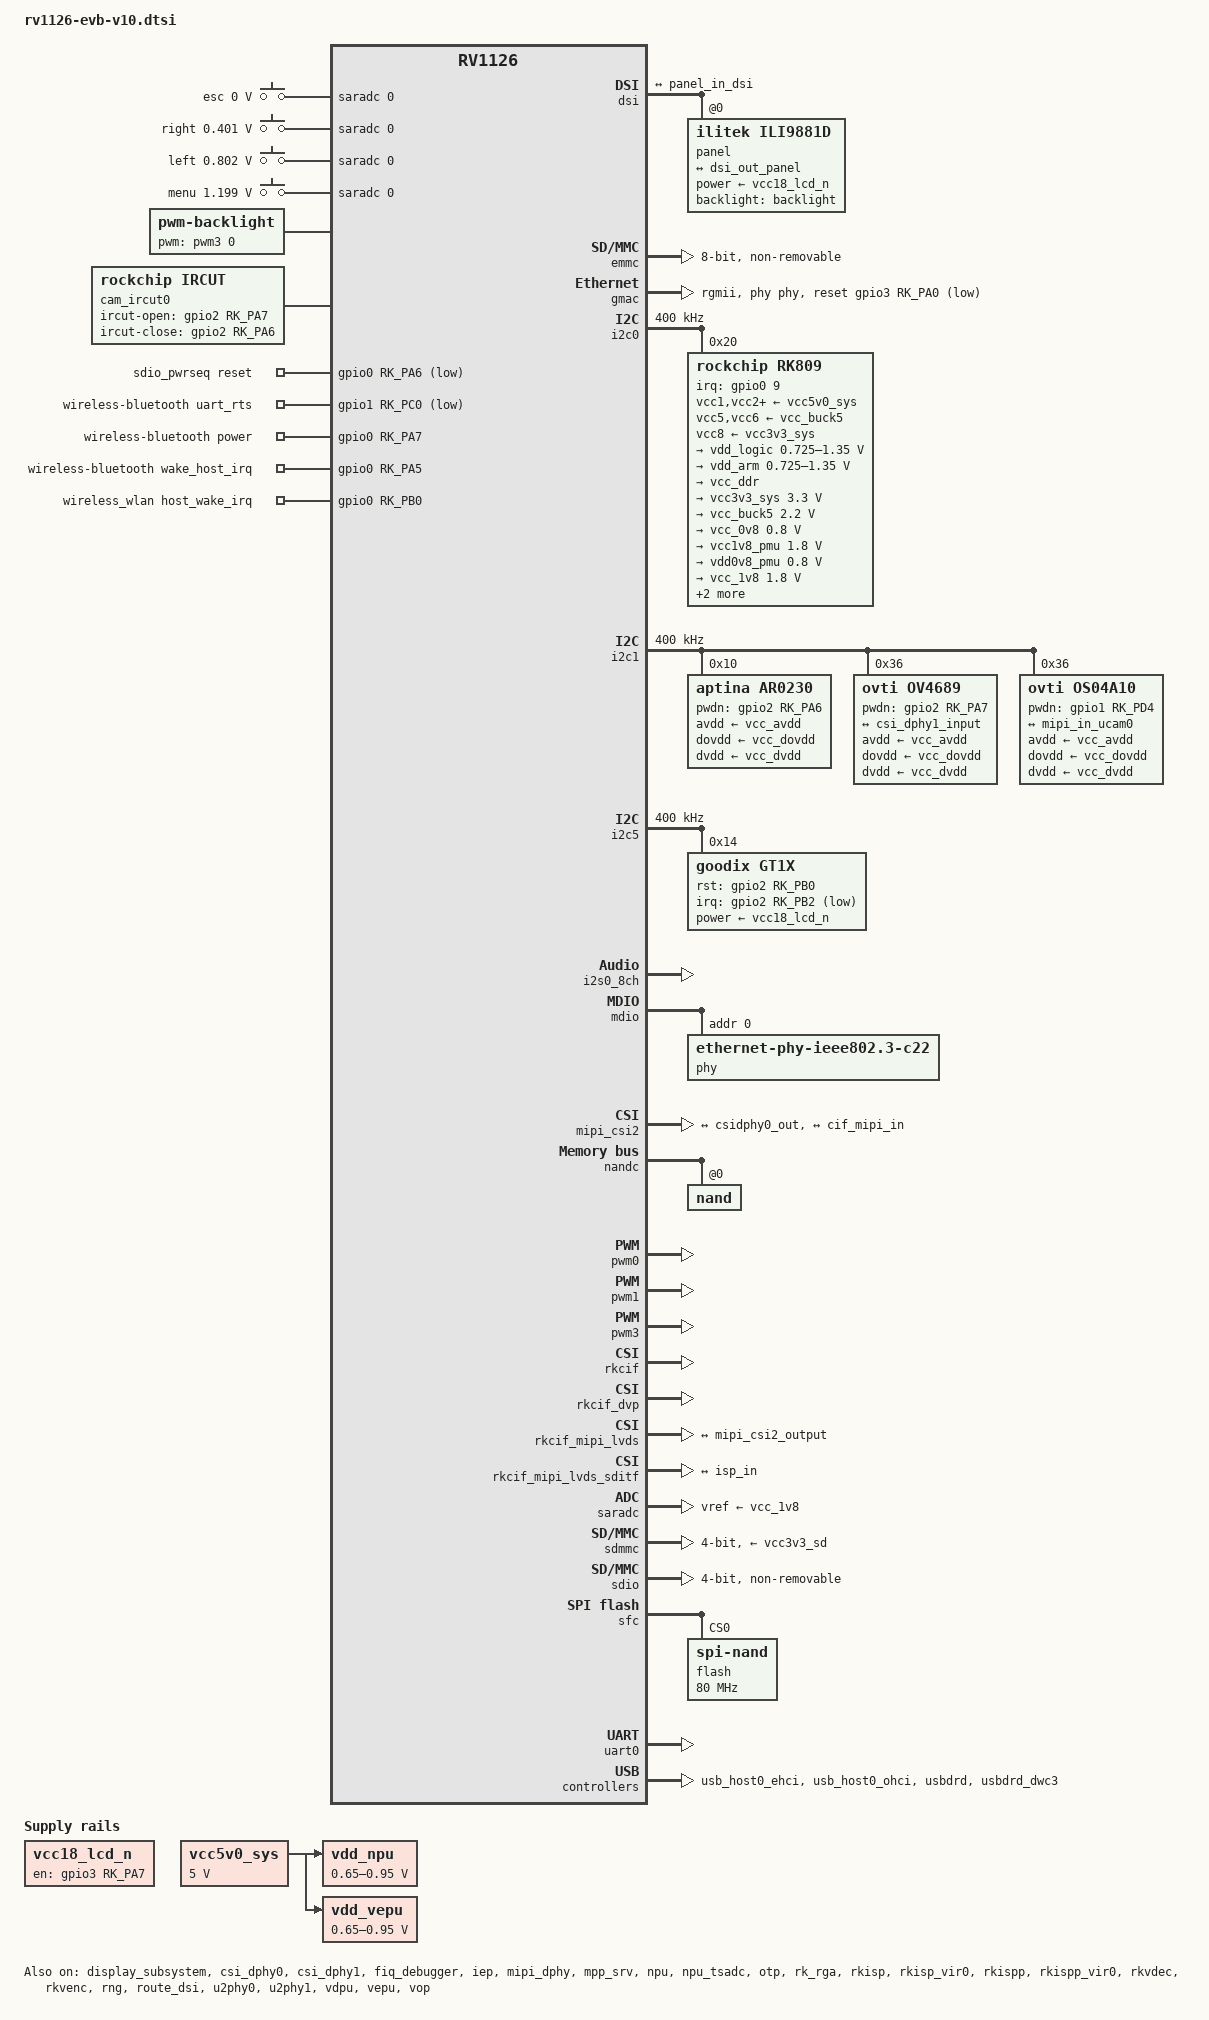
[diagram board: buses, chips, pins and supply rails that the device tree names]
// SPDX-License-Identifier: (GPL-2.0+ OR MIT)
/*
 * Copyright (c) 2019 Fuzhou Rockchip Electronics Co., Ltd.
 */

#include <dt-bindings/display/drm_mipi_dsi.h>
#include <dt-bindings/input/input.h>

/ {
	adc-keys {
		compatible = "adc-keys";
		io-channels = <&saradc 0>;
		io-channel-names = "buttons";
		poll-interval = <100>;
		keyup-threshold-microvolt = <1800000>;

		esc-key {
			label = "esc";
			linux,code = <KEY_ESC>;
			press-threshold-microvolt = <0>;
		};

		right-key {
			label = "right";
			linux,code = <KEY_RIGHT>;
			press-threshold-microvolt = <400781>;
		};

		left-key {
			label = "left";
			linux,code = <KEY_LEFT>;
			press-threshold-microvolt = <801562>;
		};

		menu-key {
			label = "menu";
			linux,code = <KEY_MENU>;
			press-threshold-microvolt = <1198828>;
		};
	};

	backlight: backlight {
		compatible = "pwm-backlight";
		pwms = <&pwm3 0 25000 0>;
		brightness-levels = <
			  0   1   2   3   4   5   6   7
			  8   9  10  11  12  13  14  15
			 16  17  18  19  20  21  22  23
			 24  25  26  27  28  29  30  31
			 32  33  34  35  36  37  38  39
			 40  41  42  43  44  45  46  47
			 48  49  50  51  52  53  54  55
			 56  57  58  59  60  61  62  63
			 64  65  66  67  68  69  70  71
			 72  73  74  75  76  77  78  79
			 80  81  82  83  84  85  86  87
			 88  89  90  91  92  93  94  95
			 96  97  98  99 100 101 102 103
			104 105 106 107 108 109 110 111
			112 113 114 115 116 117 118 119
			120 121 122 123 124 125 126 127
			128 129 130 131 132 133 134 135
			136 137 138 139 140 141 142 143
			144 145 146 147 148 149 150 151
			152 153 154 155 156 157 158 159
			160 161 162 163 164 165 166 167
			168 169 170 171 172 173 174 175
			176 177 178 179 180 181 182 183
			184 185 186 187 188 189 190 191
			192 193 194 195 196 197 198 199
			200 201 202 203 204 205 206 207
			208 209 210 211 212 213 214 215
			216 217 218 219 220 221 222 223
			224 225 226 227 228 229 230 231
			232 233 234 235 236 237 238 239
			240 241 242 243 244 245 246 247
			248 249 250 251 252 253 254 255>;
		default-brightness-level = <200>;
	};

	cam_ircut0: cam_ircut {
		status = "okay";
		compatible = "rockchip,ircut";
		ircut-open-gpios = <&gpio2 RK_PA7 GPIO_ACTIVE_HIGH>;
		ircut-close-gpios  = <&gpio2 RK_PA6 GPIO_ACTIVE_HIGH>;
		rockchip,camera-module-index = <1>;
		rockchip,camera-module-facing = "front";
	};

	dummy_codec: dummy-codec {
		compatible = "rockchip,dummy-codec";
		#sound-dai-cells = <0>;
	};

	pdm_mic_array: pdm-mic_array {
		status = "disabled";
		compatible = "simple-audio-card";
		simple-audio-card,name = "rockchip,pdm-mic-array";
		simple-audio-card,cpu {
			sound-dai = <&pdm>;
		};
		simple-audio-card,codec {
			sound-dai = <&dummy_codec>;
		};
	};

	rk809_sound: rk809-sound {
		compatible = "simple-audio-card";
		simple-audio-card,format = "i2s";
		simple-audio-card,name = "rockchip,rk809-codec";
		simple-audio-card,mclk-fs = <256>;
		simple-audio-card,cpu {
			sound-dai = <&i2s0_8ch>;
		};
		simple-audio-card,codec {
			sound-dai = <&rk809_codec>;
		};
	};

	sdio_pwrseq: sdio-pwrseq {
		compatible = "mmc-pwrseq-simple";
		pinctrl-names = "default";
		pinctrl-0 = <&wifi_enable_h>;

		/*
		 * On the module itself this is one of these (depending
		 * on the actual card populated):
		 * - SDIO_RESET_L_WL_REG_ON
		 * - PDN (power down when low)
		 */
		reset-gpios = <&gpio0 RK_PA6 GPIO_ACTIVE_LOW>;
	};

	vcc18_lcd_n: vcc18-lcd-n {
		compatible = "regulator-fixed";
		regulator-name = "vcc18_lcd_n";
		gpio = <&gpio3 RK_PA7 GPIO_ACTIVE_HIGH>;
		enable-active-high;
		regulator-boot-on;
	};

	vcc5v0_sys: vccsys {
		compatible = "regulator-fixed";
		regulator-name = "vcc5v0_sys";
		regulator-always-on;
		regulator-boot-on;
		regulator-min-microvolt = <5000000>;
		regulator-max-microvolt = <5000000>;
	};

	vdd_npu: vdd-npu {
		compatible = "pwm-regulator";
		pwms = <&pwm0 0 5000 1>;
		regulator-name = "vdd_npu";
		regulator-min-microvolt = <650000>;
		regulator-max-microvolt = <950000>;
		regulator-init-microvolt = <800000>;
		regulator-always-on;
		regulator-boot-on;
		regulator-settling-time-up-us = <250>;
		pwm-supply = <&vcc5v0_sys>;
		status = "okay";
	};

	vdd_vepu: vdd-vepu {
		compatible = "pwm-regulator";
		pwms = <&pwm1 0 5000 1>;
		regulator-name = "vdd_vepu";
		regulator-min-microvolt = <650000>;
		regulator-max-microvolt = <950000>;
		regulator-init-microvolt = <800000>;
		regulator-always-on;
		regulator-boot-on;
		regulator-settling-time-up-us = <250>;
		pwm-supply = <&vcc5v0_sys>;
		status = "okay";
	};

	wireless-bluetooth {
		compatible = "bluetooth-platdata";
		uart_rts_gpios = <&gpio1 RK_PC0 GPIO_ACTIVE_LOW>;
		pinctrl-names = "default", "rts_gpio";
		pinctrl-0 = <&uart0_rtsn>;
		pinctrl-1 = <&uart0_rtsn_gpio>;
		BT,power_gpio    = <&gpio0 RK_PA7 GPIO_ACTIVE_HIGH>;
		BT,wake_host_irq = <&gpio0 RK_PA5 GPIO_ACTIVE_HIGH>;
		status = "okay";
	};

	wireless_wlan: wireless-wlan {
		compatible = "wlan-platdata";
		rockchip,grf = <&grf>;
		clocks = <&rk809 1>;
		clock-names = "clk_wifi";
		pinctrl-names = "default";
		pinctrl-0 = <&wifi_wake_host>;
		wifi_chip_type = "ap6255";
		/* WIFI,poweren_gpio = <&gpio0 RK_PA6 GPIO_ACTIVE_HIGH>; */
		WIFI,host_wake_irq = <&gpio0 RK_PB0 GPIO_ACTIVE_HIGH>;
		status = "okay";
	};
};

&cpu0 {
	cpu-supply = <&vdd_arm>;
};

&cpu_tsadc {
	status = "okay";
};

&display_subsystem {
	status = "okay";
};

&dsi {
	status = "okay";

	rockchip,lane-rate = <480>;
	panel@0 {
		compatible = "ilitek,ili9881d", "simple-panel-dsi";
		reg = <0>;
		backlight = <&backlight>;
		power-supply = <&vcc18_lcd_n>;
		prepare-delay-ms = <5>;
		reset-delay-ms = <1>;
		init-delay-ms = <80>;
		disable-delay-ms = <10>;
		unprepare-delay-ms = <5>;

		width-mm = <68>;
		height-mm = <121>;

		dsi,flags = <(MIPI_DSI_MODE_VIDEO | MIPI_DSI_MODE_VIDEO_BURST |
			      MIPI_DSI_MODE_LPM | MIPI_DSI_MODE_EOT_PACKET)>;
		dsi,format = <MIPI_DSI_FMT_RGB888>;
		dsi,lanes = <4>;

		panel-init-sequence = [
			39 00 04 ff 98 81 03
			15 00 02 01 00
			15 00 02 02 00
			15 00 02 03 53
			15 00 02 04 53
			15 00 02 05 13
			15 00 02 06 04
			15 00 02 07 02
			15 00 02 08 02
			15 00 02 09 00
			15 00 02 0a 00
			15 00 02 0b 00
			15 00 02 0c 00
			15 00 02 0d 00
			15 00 02 0e 00
			15 00 02 0f 00
			15 00 02 10 00
			15 00 02 11 00
			15 00 02 12 00
			15 00 02 13 00
			15 00 02 14 00
			15 00 02 15 08
			15 00 02 16 10
			15 00 02 17 00
			15 00 02 18 08
			15 00 02 19 00
			15 00 02 1a 00
			15 00 02 1b 00
			15 00 02 1c 00
			15 00 02 1d 00
			15 00 02 1e c0
			15 00 02 1f 80
			15 00 02 20 02
			15 00 02 21 09
			15 00 02 22 00
			15 00 02 23 00
			15 00 02 24 00
			15 00 02 25 00
			15 00 02 26 00
			15 00 02 27 00
			15 00 02 28 55
			15 00 02 29 03
			15 00 02 2a 00
			15 00 02 2b 00
			15 00 02 2c 00
			15 00 02 2d 00
			15 00 02 2e 00
			15 00 02 2f 00
			15 00 02 30 00
			15 00 02 31 00
			15 00 02 32 00
			15 00 02 33 00
			15 00 02 34 04
			15 00 02 35 05
			15 00 02 36 05
			15 00 02 37 00
			15 00 02 38 3c
			15 00 02 39 35
			15 00 02 3a 00
			15 00 02 3b 40
			15 00 02 3c 00
			15 00 02 3d 00
			15 00 02 3e 00
			15 00 02 3f 00
			15 00 02 40 00
			15 00 02 41 88
			15 00 02 42 00
			15 00 02 43 00
			15 00 02 44 1f
			15 00 02 50 01
			15 00 02 51 23
			15 00 02 52 45
			15 00 02 53 67
			15 00 02 54 89
			15 00 02 55 ab
			15 00 02 56 01
			15 00 02 57 23
			15 00 02 58 45
			15 00 02 59 67
			15 00 02 5a 89
			15 00 02 5b ab
			15 00 02 5c cd
			15 00 02 5d ef
			15 00 02 5e 03
			15 00 02 5f 14
			15 00 02 60 15
			15 00 02 61 0c
			15 00 02 62 0d
			15 00 02 63 0e
			15 00 02 64 0f
			15 00 02 65 10
			15 00 02 66 11
			15 00 02 67 08
			15 00 02 68 02
			15 00 02 69 0a
			15 00 02 6a 02
			15 00 02 6b 02
			15 00 02 6c 02
			15 00 02 6d 02
			15 00 02 6e 02
			15 00 02 6f 02
			15 00 02 70 02
			15 00 02 71 02
			15 00 02 72 06
			15 00 02 73 02
			15 00 02 74 02
			15 00 02 75 14
			15 00 02 76 15
			15 00 02 77 0f
			15 00 02 78 0e
			15 00 02 79 0d
			15 00 02 7a 0c
			15 00 02 7b 11
			15 00 02 7c 10
			15 00 02 7d 06
			15 00 02 7e 02
			15 00 02 7f 0a
			15 00 02 80 02
			15 00 02 81 02
			15 00 02 82 02
			15 00 02 83 02
			15 00 02 84 02
			15 00 02 85 02
			15 00 02 86 02
			15 00 02 87 02
			15 00 02 88 08
			15 00 02 89 02
			15 00 02 8a 02
			39 00 04 ff 98 81 04
			15 00 02 00 80
			15 00 02 70 00
			15 00 02 71 00
			15 00 02 66 fe
			15 00 02 82 15
			15 00 02 84 15
			15 00 02 85 15
			15 00 02 3a 24
			15 00 02 32 ac
			15 00 02 8c 80
			15 00 02 3c f5
			15 00 02 88 33
			39 00 04 ff 98 81 01
			15 00 02 22 0a
			15 00 02 31 00
			15 00 02 53 78
			15 00 02 55 7b
			15 00 02 60 20
			15 00 02 61 00
			15 00 02 62 0d
			15 00 02 63 00
			15 00 02 a0 00
			15 00 02 a1 10
			15 00 02 a2 1c
			15 00 02 a3 13
			15 00 02 a4 15
			15 00 02 a5 26
			15 00 02 a6 1a
			15 00 02 a7 1d
			15 00 02 a8 67
			15 00 02 a9 1c
			15 00 02 aa 29
			15 00 02 ab 5b
			15 00 02 ac 26
			15 00 02 ad 28
			15 00 02 ae 5c
			15 00 02 af 30
			15 00 02 b0 31
			15 00 02 b1 32
			15 00 02 b2 00
			15 00 02 b1 2e
			15 00 02 b2 32
			15 00 02 b3 00
			15 00 02 c0 00
			15 00 02 c1 10
			15 00 02 c2 1c
			15 00 02 c3 13
			15 00 02 c4 15
			15 00 02 c5 26
			15 00 02 c6 1a
			15 00 02 c7 1d
			15 00 02 c8 67
			15 00 02 c9 1c
			15 00 02 ca 29
			15 00 02 cb 5b
			15 00 02 cc 26
			15 00 02 cd 28
			15 00 02 ce 5c
			15 00 02 cf 30
			15 00 02 d0 31
			15 00 02 d1 2e
			15 00 02 d2 32
			15 00 02 d3 00
			39 00 04 ff 98 81 00
			05 00 01 11
			05 01 01 29
		];

		display-timings {
			native-mode = <&timing0>;

			timing0: timing0 {
				clock-frequency = <65000000>;
				hactive = <720>;
				vactive = <1280>;
				hfront-porch = <48>;
				hsync-len = <8>;
				hback-porch = <52>;
				vfront-porch = <16>;
				vsync-len = <6>;
				vback-porch = <15>;
				hsync-active = <0>;
				vsync-active = <0>;
				de-active = <0>;
				pixelclk-active = <0>;
			};
		};

		ports {
			#address-cells = <1>;
			#size-cells = <0>;

			port@0 {
				reg = <0>;
				panel_in_dsi: endpoint {
					remote-endpoint = <&dsi_out_panel>;
				};
			};
		};
	};

	ports {
		#address-cells = <1>;
		#size-cells = <0>;

		port@1 {
			reg = <1>;
			dsi_out_panel: endpoint {
				remote-endpoint = <&panel_in_dsi>;
			};
		};
	};
};

&csi_dphy0 {
	status = "okay";

	ports {
		#address-cells = <1>;
		#size-cells = <0>;
		port@0 {
			reg = <0>;
			#address-cells = <1>;
			#size-cells = <0>;

			mipi_in_ucam0: endpoint@1 {
				reg = <1>;
				remote-endpoint = <&ucam_out0>;
				data-lanes = <1 2 3 4>;
			};
		};
		port@1 {
			reg = <1>;
			#address-cells = <1>;
			#size-cells = <0>;

			csidphy0_out: endpoint@0 {
				reg = <0>;
				remote-endpoint = <&mipi_csi2_input>;
			};
		};
	};
};

&csi_dphy1 {
	status = "okay";

	ports {
		#address-cells = <1>;
		#size-cells = <0>;

		port@0 {
			reg = <0>;
			#address-cells = <1>;
			#size-cells = <0>;

			csi_dphy1_input: endpoint@1 {
				reg = <1>;
				remote-endpoint = <&ucam_out1>;
				data-lanes = <1 2 3 4>;
			};
		};

		port@1 {
			reg = <1>;
			#address-cells = <1>;
			#size-cells = <0>;

			csi_dphy1_output: endpoint@0 {
				reg = <0>;
				/*remote-endpoint = <&mipi_csi2_input>;*/
				data-lanes = <1 2 3 4>;
			};
		};
	};
};

&emmc {
	bus-width = <8>;
	cap-mmc-highspeed;
	non-removable;
	mmc-hs200-1_8v;
	rockchip,default-sample-phase = <90>;
	no-sdio;
	no-sd;
	/delete-property/ pinctrl-names;
	/delete-property/ pinctrl-0;
	status = "okay";
};

&fiq_debugger {
	status = "okay";
};

&gmac {
	phy-mode = "rgmii";
	clock_in_out = "input";

	snps,reset-gpio = <&gpio3 RK_PA0 GPIO_ACTIVE_LOW>;
	snps,reset-active-low;
	/* Reset time is 20ms, 100ms for rtl8211f */
	snps,reset-delays-us = <0 20000 100000>;

	assigned-clocks = <&cru CLK_GMAC_SRC>, <&cru CLK_GMAC_TX_RX>, <&cru CLK_GMAC_ETHERNET_OUT>;
	assigned-clock-parents = <&cru CLK_GMAC_SRC_M1>, <&cru RGMII_MODE_CLK>;
	assigned-clock-rates = <125000000>, <0>, <25000000>;

	pinctrl-names = "default";
	pinctrl-0 = <&rgmiim1_miim &rgmiim1_bus2 &rgmiim1_bus4 &clkm1_out_ethernet>;

	tx_delay = <0x2a>;
	rx_delay = <0x1a>;

	phy-handle = <&phy>;
	status = "okay";
};

&i2c0 {
	status = "okay";
	clock-frequency = <400000>;

	rk809: pmic@20 {
		compatible = "rockchip,rk809";
		reg = <0x20>;
		interrupt-parent = <&gpio0>;
		interrupts = <9 IRQ_TYPE_LEVEL_LOW>;
		pinctrl-names = "default", "pmic-sleep",
			"pmic-power-off", "pmic-reset";
		pinctrl-0 = <&pmic_int>;
		pinctrl-1 = <&soc_slppin_gpio>, <&rk817_slppin_slp>;
		pinctrl-2 = <&soc_slppin_gpio>, <&rk817_slppin_pwrdn>;
		pinctrl-3 = <&soc_slppin_slp>, <&rk817_slppin_rst>;
		rockchip,system-power-controller;
		wakeup-source;
		#clock-cells = <1>;
		clock-output-names = "rk808-clkout1", "rk808-clkout2";
		/* 0: rst the pmic, 1: rst regs (default in codes) */
		pmic-reset-func = <0>;

		vcc1-supply = <&vcc5v0_sys>;
		vcc2-supply = <&vcc5v0_sys>;
		vcc3-supply = <&vcc5v0_sys>;
		vcc4-supply = <&vcc5v0_sys>;
		vcc5-supply = <&vcc_buck5>;
		vcc6-supply = <&vcc_buck5>;
		vcc7-supply = <&vcc5v0_sys>;
		vcc8-supply = <&vcc3v3_sys>;
		vcc9-supply = <&vcc5v0_sys>;

		pwrkey {
			status = "okay";
		};

		pinctrl_rk8xx: pinctrl_rk8xx {
			gpio-controller;
			#gpio-cells = <2>;

			/omit-if-no-ref/
			rk817_slppin_null: rk817_slppin_null {
				pins = "gpio_slp";
				function = "pin_fun0";
			};

			/omit-if-no-ref/
			rk817_slppin_slp: rk817_slppin_slp {
				pins = "gpio_slp";
				function = "pin_fun1";
			};

			/omit-if-no-ref/
			rk817_slppin_pwrdn: rk817_slppin_pwrdn {
				pins = "gpio_slp";
				function = "pin_fun2";
			};

			/omit-if-no-ref/
			rk817_slppin_rst: rk817_slppin_rst {
				pins = "gpio_slp";
				function = "pin_fun3";
			};
		};

		regulators {
			vdd_logic: DCDC_REG1 {
				regulator-always-on;
				regulator-boot-on;
				regulator-min-microvolt = <725000>;
				regulator-max-microvolt = <1350000>;
				regulator-ramp-delay = <6001>;
				regulator-initial-mode = <0x2>;
				regulator-name = "vdd_logic";
				regulator-state-mem {
					regulator-on-in-suspend;
					regulator-suspend-microvolt = <800000>;
				};
			};

			vdd_arm: DCDC_REG2 {
				regulator-always-on;
				regulator-boot-on;
				regulator-min-microvolt = <725000>;
				regulator-max-microvolt = <1350000>;
				regulator-ramp-delay = <6001>;
				regulator-initial-mode = <0x2>;
				regulator-name = "vdd_arm";
				regulator-state-mem {
					regulator-off-in-suspend;
				};
			};

			vcc_ddr: DCDC_REG3 {
				regulator-always-on;
				regulator-boot-on;
				regulator-initial-mode = <0x2>;
				regulator-name = "vcc_ddr";
				regulator-state-mem {
					regulator-on-in-suspend;
				};
			};

			vcc3v3_sys: DCDC_REG4 {
				regulator-always-on;
				regulator-boot-on;
				regulator-min-microvolt = <3300000>;
				regulator-max-microvolt = <3300000>;
				regulator-initial-mode = <0x2>;
				regulator-name = "vcc3v3_sys";
				regulator-state-mem {
					regulator-on-in-suspend;
					regulator-suspend-microvolt = <3300000>;
				};
			};

			vcc_buck5: DCDC_REG5 {
				regulator-always-on;
				regulator-boot-on;
				regulator-min-microvolt = <2200000>;
				regulator-max-microvolt = <2200000>;
				regulator-name = "vcc_buck5";
				regulator-state-mem {
					regulator-on-in-suspend;
					regulator-suspend-microvolt = <2200000>;
				};
			};

			vcc_0v8: LDO_REG1 {
				regulator-always-on;
				regulator-boot-on;
				regulator-min-microvolt = <800000>;
				regulator-max-microvolt = <800000>;
				regulator-name = "vcc_0v8";
				regulator-state-mem {
					regulator-off-in-suspend;
				};
			};

			vcc1v8_pmu: LDO_REG2 {
				regulator-always-on;
				regulator-boot-on;
				regulator-min-microvolt = <1800000>;
				regulator-max-microvolt = <1800000>;
				regulator-name = "vcc1v8_pmu";
				regulator-state-mem {
					regulator-on-in-suspend;
					regulator-suspend-microvolt = <1800000>;
				};
			};

			vdd0v8_pmu: LDO_REG3 {
				regulator-always-on;
				regulator-boot-on;
				regulator-min-microvolt = <800000>;
				regulator-max-microvolt = <800000>;
				regulator-name = "vcc0v8_pmu";
				regulator-state-mem {
					regulator-on-in-suspend;
					regulator-suspend-microvolt = <800000>;
				};
			};

			vcc_1v8: LDO_REG4 {
				regulator-always-on;
				regulator-boot-on;
				regulator-min-microvolt = <1800000>;
				regulator-max-microvolt = <1800000>;
				regulator-name = "vcc_1v8";
				regulator-state-mem {
					regulator-on-in-suspend;
					regulator-suspend-microvolt = <1800000>;
				};
			};

			vcc_dovdd: LDO_REG5 {
				regulator-boot-on;
				regulator-min-microvolt = <1800000>;
				regulator-max-microvolt = <1800000>;
				regulator-name = "vcc_dovdd";
				regulator-state-mem {
					regulator-off-in-suspend;
				};
			};

			vcc_dvdd: LDO_REG6 {
				regulator-min-microvolt = <1200000>;
				regulator-max-microvolt = <1200000>;
				regulator-name = "vcc_dvdd";
				regulator-state-mem {
					regulator-off-in-suspend;
				};
			};

			vcc_avdd: LDO_REG7 {
				regulator-min-microvolt = <2800000>;
				regulator-max-microvolt = <2800000>;
				regulator-name = "vcc_avdd";
				regulator-state-mem {
					regulator-off-in-suspend;
				};
			};

			vccio_sd: LDO_REG8 {
				regulator-always-on;
				regulator-boot-on;
				regulator-min-microvolt = <1800000>;
				regulator-max-microvolt = <3300000>;
				regulator-name = "vccio_sd";
				regulator-state-mem {
					regulator-off-in-suspend;
				};
			};

			vcc3v3_sd: LDO_REG9 {
				regulator-always-on;
				regulator-boot-on;
				regulator-min-microvolt = <3300000>;
				regulator-max-microvolt = <3300000>;
				regulator-name = "vcc3v3_sd";
				regulator-state-mem {
					regulator-off-in-suspend;
				};
			};

			vcc5v0_host: SWITCH_REG1 {
				regulator-name = "vcc5v0_host";
			};

			vcc_3v3: SWITCH_REG2 {
				regulator-always-on;
				regulator-boot-on;
				regulator-name = "vcc_3v3";
			};
		};

		rk809_codec: codec {
			#sound-dai-cells = <0>;
			compatible = "rockchip,rk809-codec", "rockchip,rk817-codec";
			clocks = <&cru MCLK_I2S0_TX_OUT2IO>;
			clock-names = "mclk";
			pinctrl-names = "default";
			assigned-clocks = <&cru MCLK_I2S0_TX_OUT2IO>;
			assigned-clock-parents = <&cru MCLK_I2S0_TX>;
			pinctrl-0 = <&i2s0m0_mclk>;
			hp-volume = <20>;
			spk-volume = <3>;
		};
	};
};

&i2c1 {
	status = "okay";
	clock-frequency = <400000>;

	ar0230: ar0230@10 {
		compatible = "aptina,ar0230";
		reg = <0x10>;
		clocks = <&cru CLK_CIF_OUT>;
		clock-names = "xvclk";
		avdd-supply = <&vcc_avdd>;
		dovdd-supply = <&vcc_dovdd>;
		dvdd-supply = <&vcc_dvdd>;
		power-domains = <&power RV1126_PD_VI>;
		pwdn-gpios = <&gpio2 RK_PA6 GPIO_ACTIVE_HIGH>;
		/*reset-gpios = <&gpio2 RK_PC5 GPIO_ACTIVE_HIGH>;*/
		rockchip,grf = <&grf>;
		pinctrl-names = "default";
		pinctrl-0 = <&cifm0_dvp_ctl>;
		rockchip,camera-module-index = <0>;
		rockchip,camera-module-facing = "back";
		rockchip,camera-module-name = "CMK-OT0836-PT2";
		rockchip,camera-module-lens-name = "YT-2929";
		port {
			cam_para_out1: endpoint {
				/* remote-endpoint = <&cif_para_in>; */
			};
		};
	};

	ov4689: ov4689@36 {
		compatible = "ovti,ov4689";
		reg = <0x36>;
		clocks = <&cru CLK_MIPICSI_OUT>;
		clock-names = "xvclk";
		power-domains = <&power RV1126_PD_VI>;
		pinctrl-names = "rockchip,camera_default";
		pinctrl-0 = <&mipicsi_clk1>;
		/*pinctrl-0 = <&mipicsi_clk0>;*/
		avdd-supply = <&vcc_avdd>;
		dovdd-supply = <&vcc_dovdd>;
		dvdd-supply = <&vcc_dvdd>;
		pwdn-gpios = <&gpio2 RK_PA7 GPIO_ACTIVE_HIGH>;
		/*pwdn-gpios = <&gpio1 RK_PD4 GPIO_ACTIVE_HIGH>;*/
		rockchip,camera-module-index = <1>;
		rockchip,camera-module-facing = "front";
		rockchip,camera-module-name = "JSD3425-C1";
		rockchip,camera-module-lens-name = "JSD3425-C1";
		/* NO_HDR:0 HDR_X2:5 HDR_X3:6 */
		rockchip,camera-hdr-mode = <0>;
		port {
			ucam_out1: endpoint {
				remote-endpoint = <&csi_dphy1_input>;
				data-lanes = <1 2 3 4>;
			};
		};

	};

	os04a10: os04a10@36 {
		compatible = "ovti,os04a10";
		reg = <0x36>;
		clocks = <&cru CLK_MIPICSI_OUT>;
		clock-names = "xvclk";
		power-domains = <&power RV1126_PD_VI>;
		pinctrl-names = "rockchip,camera_default";
		pinctrl-0 = <&mipicsi_clk0>;
		avdd-supply = <&vcc_avdd>;
		dovdd-supply = <&vcc_dovdd>;
		dvdd-supply = <&vcc_dvdd>;
		pwdn-gpios = <&gpio1 RK_PD4 GPIO_ACTIVE_HIGH>;
		rockchip,camera-module-index = <1>;
		rockchip,camera-module-facing = "front";
		rockchip,camera-module-name = "CMK-OT1607-FV1";
		rockchip,camera-module-lens-name = "M12-40IRC-4MP-F16";
		ir-cut = <&cam_ircut0>;
		port {
			ucam_out0: endpoint {
				remote-endpoint = <&mipi_in_ucam0>;
				data-lanes = <1 2 3 4>;
			};
		};
	};
};

&i2c5 {
	status = "okay";
	clock-frequency = <400000>;

	gt1x: gt1x@14 {
		compatible = "goodix,gt1x";
		reg = <0x14>;
		gtp_ics_slot_report;
		power-supply = <&vcc18_lcd_n>;
		goodix,rst-gpio = <&gpio2 RK_PB0 GPIO_ACTIVE_HIGH>;
		goodix,irq-gpio = <&gpio2 RK_PB2 GPIO_ACTIVE_LOW>;
	};
};

&i2s0_8ch {
	status = "okay";
	#sound-dai-cells = <0>;
	rockchip,clk-trcm = <1>;
	rockchip,i2s-rx-route = <3 1 2 0>;
	pinctrl-names = "default";
	pinctrl-0 = <&i2s0m0_sclk_tx
		     &i2s0m0_lrck_tx
		     &i2s0m0_sdo0
		     &i2s0m0_sdo1_sdi3>;
};

&iep {
	status = "okay";
};

&iep_mmu {
	status = "okay";
};

&mdio {
	phy: phy@0 {
		compatible = "ethernet-phy-ieee802.3-c22";
		reg = <0x0>;
		clocks = <&cru CLK_GMAC_ETHERNET_OUT>;
	};
};

&mipi_csi2 {
	status = "okay";

	ports {
		#address-cells = <1>;
		#size-cells = <0>;

		port@0 {
			reg = <0>;
			#address-cells = <1>;
			#size-cells = <0>;

			mipi_csi2_input: endpoint@1 {
				reg = <1>;
				remote-endpoint = <&csidphy0_out>;
				data-lanes = <1 2 3 4>;
			};
		};

		port@1 {
			reg = <1>;
			#address-cells = <1>;
			#size-cells = <0>;

			mipi_csi2_output: endpoint@0 {
				reg = <0>;
				remote-endpoint = <&cif_mipi_in>;
				data-lanes = <1 2 3 4>;
			};
		};
	};
};

&mipi_dphy {
	status = "okay";
};

&mpp_srv {
	status = "okay";
};

&nandc {
	/delete-property/ pinctrl-names;
	/delete-property/ pinctrl-0;
	#address-cells = <1>;
	#size-cells = <0>;

	nand@0 {
		reg = <0>;
		nand-bus-width = <8>;
		nand-ecc-mode = "hw";
		nand-ecc-strength = <16>;
		nand-ecc-step-size = <1024>;
	};
};

&npu {
	npu-supply = <&vdd_npu>;
	status = "okay";
};

&npu_tsadc {
	status = "okay";
};

&optee {
	status = "disabled";
};

&otp {
	status = "okay";
};

&pdm {
	status = "disabled";
	#sound-dai-cells = <0>;
	pinctrl-names = "default";
	pinctrl-0 = <&pdmm0_clk
		     &pdmm0_clk1
		     &pdmm0_sdi0
		     &pdmm0_sdi1
		     &pdmm0_sdi2>;
};

&pinctrl {
	pmic {
		/omit-if-no-ref/
		pmic_int: pmic_int {
			rockchip,pins =
				<0 RK_PB1 RK_FUNC_GPIO &pcfg_pull_up>;
		};

		/omit-if-no-ref/
		soc_slppin_gpio: soc_slppin_gpio {
			rockchip,pins =
				<0 RK_PB2 RK_FUNC_GPIO &pcfg_output_low>;
		};

		/omit-if-no-ref/
		soc_slppin_slp: soc_slppin_slp {
			rockchip,pins =
				<0 RK_PB2 1 &pcfg_pull_none>;
		};

		/omit-if-no-ref/
		soc_slppin_rst: soc_slppin_rst {
			rockchip,pins =
				<0 RK_PB2 2 &pcfg_pull_none>;
		};
	};

	sdio-pwrseq {
		/omit-if-no-ref/
		wifi_enable_h: wifi-enable-h {
			rockchip,pins = <0 RK_PA6 RK_FUNC_GPIO &pcfg_pull_none>;
		};
	};

	wireless-wlan {
		/omit-if-no-ref/
		wifi_wake_host: wifi-wake-host {
			rockchip,pins = <0 RK_PB0 RK_FUNC_GPIO &pcfg_pull_up>;
		};
	};
};

&pmu_io_domains {
	status = "okay";

	pmuio0-supply = <&vcc1v8_pmu>;
	pmuio1-supply = <&vcc3v3_sys>;
	vccio2-supply = <&vccio_sd>;
	vccio3-supply = <&vcc_1v8>;
	vccio4-supply = <&vcc_1v8>;
	vccio5-supply = <&vcc_3v3>;
	vccio6-supply = <&vcc_1v8>;
	vccio7-supply = <&vcc_1v8>;
};

&pwm0 {
	status = "okay";
	pinctrl-names = "active";
	pinctrl-0 = <&pwm0m0_pins_pull_down>;
};

&pwm1 {
	status = "okay";
	pinctrl-names = "active";
	pinctrl-0 = <&pwm1m0_pins_pull_down>;
};

&pwm3 {
	status = "okay";
};

&ramoops {
	status = "okay";
};

&rk_rga {
	status = "okay";
};

&rkcif {
	status = "okay";
};

&rkcif_mmu {
	status = "disabled";
};

&rkcif_dvp {
	status = "okay";

	port {
		/* Parallel bus endpoint */
		/*
		cif_para_in: endpoint {
			remote-endpoint = <&cam_para_out1>;
			bus-width = <12>;
			hsync-active = <1>;
			vsync-active = <0>;
		};
		*/
	};
};

&rkcif_mipi_lvds {
	status = "okay";

	port {
		/* MIPI CSI-2 endpoint */
		cif_mipi_in: endpoint {
			remote-endpoint = <&mipi_csi2_output>;
			data-lanes = <1 2 3 4>;
		};
	};
};

&rkcif_mipi_lvds_sditf {
	status = "okay";

	port {
		/* MIPI CSI-2 endpoint */
		mipi_lvds_sditf: endpoint {
			remote-endpoint = <&isp_in>;
			data-lanes = <1 2 3 4>;
		};
	};
};

&rkisp {
	status = "okay";
};

&rkisp_vir0 {
	status = "okay";

	ports {
		port@0 {
			reg = <0>;
			#address-cells = <1>;
			#size-cells = <0>;

			isp_in: endpoint@0 {
				reg = <0>;
				remote-endpoint = <&mipi_lvds_sditf>;
			};
		};
	};
};

&rkisp_mmu {
	status = "disabled";
};

&rkispp {
	status = "okay";
	/* the max input w h and fps of mulit sensor */
	//max-input = <2688 1520 30>;
};

&rkispp_vir0 {
	status = "okay";
};

&rkispp_mmu {
	status = "okay";
};

&rkvdec {
	status = "okay";
};

&rkvdec_mmu {
	status = "okay";
};

&rkvenc {
	venc-supply = <&vdd_vepu>;
	status = "okay";
};

&rkvenc_mmu {
	status = "okay";
};

&rng {
	status = "okay";
};

&rockchip_suspend {
	status = "okay";
	rockchip,sleep-debug-en = <1>;
	rockchip,sleep-mode-config = <
		(0
		| RKPM_SLP_ARMOFF
		| RKPM_SLP_PMU_PMUALIVE_32K
		| RKPM_SLP_PMU_DIS_OSC
		| RKPM_SLP_PMIC_LP
		)
	>;
	rockchip,wakeup-config = <
		(0
		| RKPM_GPIO_WKUP_EN
		)
	>;
};

&route_dsi {
	status = "okay";
};

&saradc {
	status = "okay";
	vref-supply = <&vcc_1v8>;
};

&sdmmc {
	bus-width = <4>;
	cap-mmc-highspeed;
	cap-sd-highspeed;
	card-detect-delay = <200>;
	rockchip,default-sample-phase = <90>;
	no-sdio;
	no-mmc;
	sd-uhs-sdr12;
	sd-uhs-sdr25;
	sd-uhs-sdr104;
	vqmmc-supply = <&vccio_sd>;
	vmmc-supply = <&vcc3v3_sd>;
	status = "okay";
};

&sdio {
	max-frequency = <200000000>;
	bus-width = <4>;
	cap-sd-highspeed;
	cap-sdio-irq;
	keep-power-in-suspend;
	non-removable;
	rockchip,default-sample-phase = <90>;
	sd-uhs-sdr104;
	no-sd;
	no-mmc;
	mmc-pwrseq = <&sdio_pwrseq>;
	status = "okay";
};

&sfc {
	/delete-property/ pinctrl-names;
	/delete-property/ pinctrl-0;
	status = "okay";

	flash@0 {
		compatible = "spi-nand";
		reg = <0>;
		spi-max-frequency = <80000000>;
		spi-rx-bus-width = <4>;
		spi-tx-bus-width = <1>;
	};
};

&u2phy0 {
	status = "okay";
	vup-gpios = <&gpio0 RK_PC1 GPIO_ACTIVE_LOW>;
	u2phy_otg: otg-port {
		status = "okay";
	};
};

&u2phy1 {
	status = "okay";
	u2phy_host: host-port {
		status = "okay";
		phy-supply = <&vcc5v0_host>;
	};
};

&uart0 {
	pinctrl-names = "default";
	pinctrl-0 = <&uart0_xfer &uart0_ctsn>;
	status = "okay";
};

&usb_host0_ehci {
	status = "okay";
};

&usb_host0_ohci {
	status = "okay";
};

&usbdrd {
	status = "okay";
};

&usbdrd_dwc3 {
	status = "okay";
	extcon = <&u2phy0>;
};

&vdpu {
	status = "okay";
};

&vepu {
	status = "okay";
};

&vpu_mmu {
	status = "okay";
};

&vop {
	status = "okay";
};

&vop_mmu {
	status = "okay";
};
